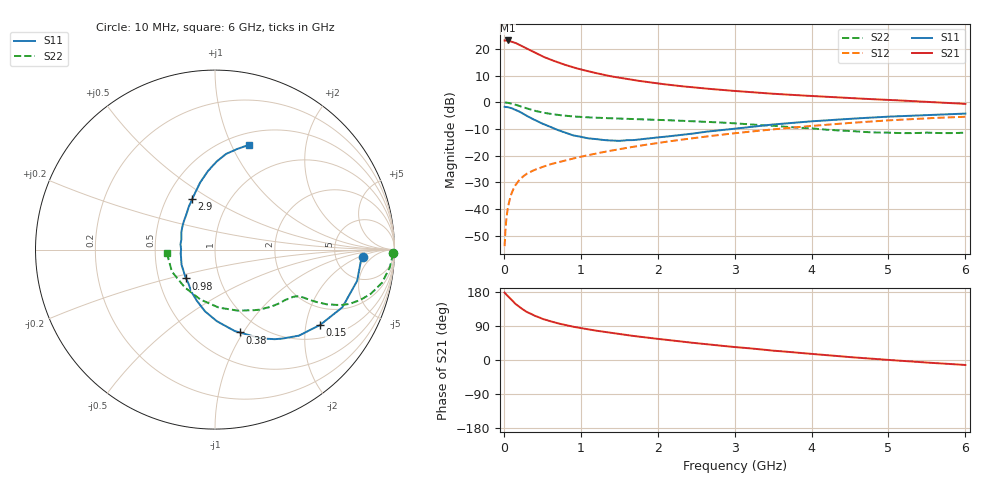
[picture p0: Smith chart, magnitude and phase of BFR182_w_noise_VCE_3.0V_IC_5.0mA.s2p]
! Infineon Technologies  Discrete & RF Semiconductors
! BFR182
! VCE =  3.0 V,  IC =  5.0 mA
! Common Emitter S-Parameters:  Nov 2015
# GHz  S  MA  R  50
!  f  S11  S21  S12  S22
! GHz  MAG  ANG  MAG  ANG  MAG  ANG  MAG  ANG
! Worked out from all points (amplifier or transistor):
!   210 points, 10 MHz to 6 GHz, reference 50 ohm
!   highest |S21| = 23.2 dB at 50 MHz (marker M1)
!   |S21| within 3 dB of that: start of sweep to 295.2 MHz
!   unconditionally stable (mu >= 1): 1.064 GHz to 2.809 GHz
!   at 185 MHz: K = 0.33, MSG = 25.8 dB, |S12| = -29.8 dB
!   at 1.52 GHz: K = 1.06, MAG = 11.8 dB, |S12| = -17.5 dB
!   at 6 GHz: K = 0.88, MSG = 2.4 dB, |S12| = -5.4 dB
!   lowest NFmin = 1.20 dB at 450 MHz
!   S11 on the Smith chart (normalised r, x): 10 MHz: 10, -2; 150 MHz: 1.38, -2.41; 380 MHz: 0.80, -0.97; 980 MHz: 0.69, -0.23; 2.9 GHz: 0.67, +0.42; 6 GHz: 0.62, +1.17
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0.01  0.8254 -2.7  14.38 177.8  0.002 88.6  0.9906 -1.2
0.025  0.813 -6.1  14.38 174.2  0.0048 85.3  0.9868 -3.0
0.05  0.8109 -12.4  14.42 169.0  0.0099 83.3  0.9785 -5.9
0.1  0.779 -24.4  13.7 158.9  0.0195 77.6  0.949 -11.2
0.15  0.7202 -35.7  12.99 148.3  0.0277 72.7  0.9028 -15.8
0.2  0.6698 -45.7  12.06 140.3  0.0346 68.6  0.8538 -19.3
0.26  0.5999 -56.3  10.82 131.8  0.0416 64.8  0.8003 -22.3
0.3  0.5554 -62.9  10.13 126.6  0.0458 63.7  0.7664 -23.8
0.38  0.4821 -73.3  8.885 119.1  0.0523 61.4  0.7078 -25.6
0.5  0.3986 -88.6  7.264 108.7  0.061 59.9  0.6419 -27.2
0.6  0.3484 -99.2  6.343 102.4  0.0683 59.6  0.6067 -27.8
0.7  0.302 -109.6  5.623 96.8  0.0746 60.1  0.5795 -28.2
0.8  0.2698 -119.1  5.01 92.0  0.0813 60.1  0.5589 -28.5
0.98  0.2276 -135.1  4.202 85.0  0.0936 61.0  0.5328 -29.3
1.02  0.2217 -139.0  4.06 83.6  0.0963 61.2  0.5285 -29.5
1.4  0.1924 -173.5  3.053 71.5  0.1242 62.2  0.5005 -32.5
2.02  0.2205 146.2  2.234 55.4  0.1738 61.0  0.467 -39.8
2.9  0.3079 114.5  1.674 36.3  0.2526 55.9  0.4107 -54.9
3.1  0.331 110.0  1.59 32.5  0.2716 54.2  0.3933 -59.2
4.1  0.4488 93.8  1.286 14.4  0.3692 44.3  0.314 -89.9
5.1  0.5441 82.1  1.09 -1.2  0.466 32.1  0.2657 -133.5
6  0.6134 72.1  0.933 -13.2  0.5349 19.2  0.2689 -175.8
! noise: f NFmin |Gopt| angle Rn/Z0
0.45  1.2  0.27  37  0.3
0.9  1.3  0.25  75  0.23
1.8  1.9  0.21  145  0.2
